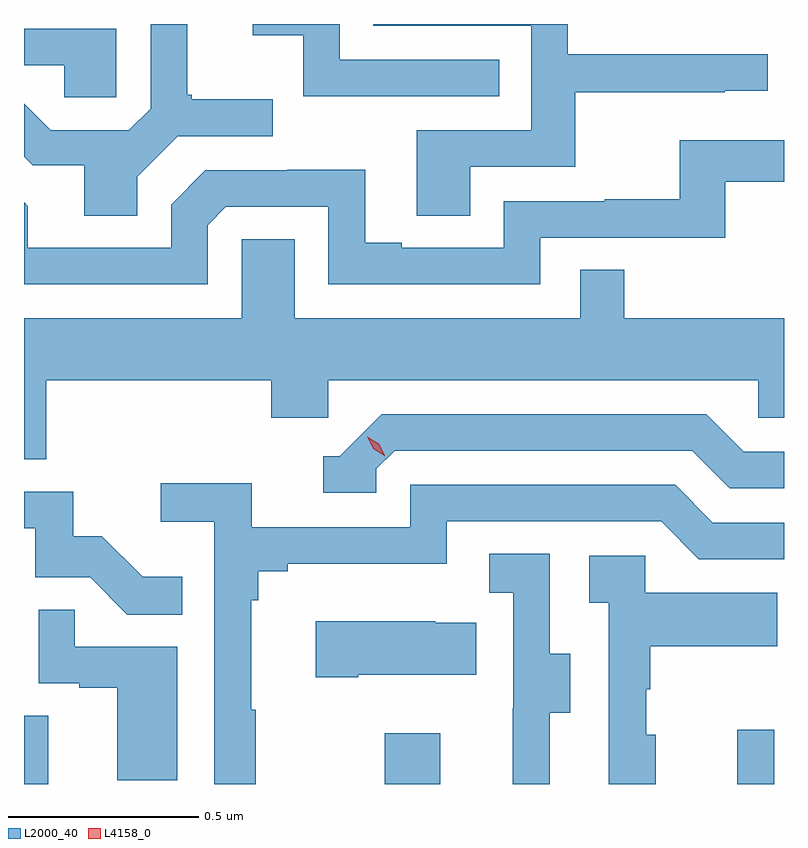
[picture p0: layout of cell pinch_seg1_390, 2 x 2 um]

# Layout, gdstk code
import gdstk
lib = gdstk.Library(unit=1e-6, precision=1e-09)
def R(c, l, rs):  # rectangles x0, y0, x1, y1
    for r in rs: c.add(gdstk.rectangle(r[:2], r[2:], *l))
def P(c, l, *ps):  # polygons
    for p in ps: c.add(gdstk.Polygon(p, *l))
L2000_40 = (2000, 40)
L4158_0 = (4158, 0)

pinch_seg1_390 = lib.new_cell('pinch_seg1_390')
R(pinch_seg1_390, L2000_40, [(953.643,526.694,953.707,526.874), (954.592,526.694,954.739,526.828), (955.52,526.694,955.617,526.837)])
P(pinch_seg1_390, L2000_40, [(953.941,528.292),(954.048,528.399),(954.298,528.399),(954.298,528.496),(954.085,528.496),(954.085,528.508),(954.073,528.508),(954.073,528.694),(953.976,528.694),(953.976,528.471),(953.919,528.414),(953.713,528.414),(953.643,528.484),(953.643,528.345),(953.666,528.322),(953.801,528.322),(953.801,528.19),(953.941,528.19)],
  [(954.817,528.318),(955.094,528.318),(955.094,528.514),(955.487,528.514),(955.487,528.519),(955.6,528.519),(955.6,528.615),(955.074,528.615),(955.074,528.694),(954.562,528.694),(954.562,528.69),(954.978,528.69),(954.978,528.414),(954.677,528.414),(954.677,528.19),(954.817,528.19)],
  [(954.893,528.6),(954.474,528.6),(954.474,528.694),(954.245,528.694),(954.245,528.665),(954.378,528.665),(954.378,528.504),(954.893,528.504)],
  [(953.886,528.681),(953.643,528.681),(953.643,528.585),(953.749,528.585),(953.749,528.501),(953.886,528.501)],
  [(954.126,528.165),(954.174,528.213),(954.444,528.213),(954.444,528.009),(955.002,528.009),(955.002,528.132),(955.489,528.132),(955.489,528.279),(955.643,528.279),(955.643,528.388),(955.368,528.388),(955.368,528.233),(955.171,528.233),(955.171,528.228),(954.906,528.228),(954.906,528.105),(954.637,528.105),(954.637,528.118),(954.541,528.118),(954.541,528.311),(954.336,528.311),(954.336,528.309),(954.12,528.309),(954.03,528.219),(954.03,528.105),(953.653,528.105),(953.653,528.215),(953.643,528.225),(953.643,528.009),(954.126,528.009)],
  [(953.702,527.756),(954.293,527.756),(954.293,527.658),(954.444,527.658),(954.444,527.756),(955.575,527.756),(955.575,527.658),(955.643,527.658),(955.643,527.92),(955.223,527.92),(955.223,528.047),(955.107,528.047),(955.107,527.92),(954.355,527.92),(954.355,528.128),(954.216,528.128),(954.216,527.92),(953.643,527.92),(953.643,527.548),(953.702,527.548)],
  [(954.57,527.523),(954.618,527.571),(955.401,527.571),(955.5,527.472),(955.643,527.472),(955.643,527.568),(955.537,527.568),(955.438,527.667),(954.585,527.667),(954.474,527.556),(954.431,527.556),(954.431,527.46),(954.57,527.46)],
  [(954.253,526.889),(954.241,526.889),(954.241,527.177),(954.26,527.177),(954.26,527.254),(954.337,527.254),(954.337,527.273),(954.756,527.273),(954.756,527.385),(955.32,527.385),(955.419,527.286),(955.643,527.286),(955.643,527.382),(955.456,527.382),(955.357,527.481),(954.66,527.481),(954.66,527.37),(954.242,527.37),(954.242,527.486),(954.003,527.486),(954.003,527.384),(954.144,527.384),(954.144,526.694),(954.253,526.694)],
  [(954.059,527.239),(953.955,527.239),(953.848,527.346),(953.772,527.346),(953.772,527.463),(953.643,527.463),(953.643,527.367),(953.673,527.367),(953.673,527.238),(953.817,527.238),(953.915,527.14),(954.059,527.14)],
  [(955.027,526.882),(955.081,526.882),(955.081,527.037),(955.026,527.037),(955.026,527.3),(954.867,527.3),(954.867,527.197),(954.93,527.197),(954.93,526.893),(954.929,526.893),(954.929,526.694),(955.027,526.694)],
  [(955.306,526.824),(955.281,526.824),(955.281,526.943),(955.291,526.943),(955.291,527.057),(955.625,527.057),(955.625,527.197),(955.278,527.197),(955.278,527.295),(955.131,527.295),(955.131,527.171),(955.182,527.171),(955.182,526.694),(955.306,526.694)],
  [(954.046,527.055),(953.777,527.055),(953.777,527.153),(953.682,527.153),(953.682,526.959),(953.789,526.959),(953.789,526.947),(953.888,526.947),(953.888,526.704),(954.046,526.704)],
  [(954.523,526.982),(954.833,526.982),(954.833,527.119),(954.725,527.119),(954.725,527.122),(954.411,527.122),(954.411,526.975),(954.523,526.975)])
P(pinch_seg1_390, L4158_0, [(954.593,527.556),(954.562,527.576),(954.546,527.608),(954.546,527.608),(954.546,527.608),(954.577,527.589),(954.593,527.557),(954.593,527.556)])

lib.write_gds('pinch_seg1_390.gds')
